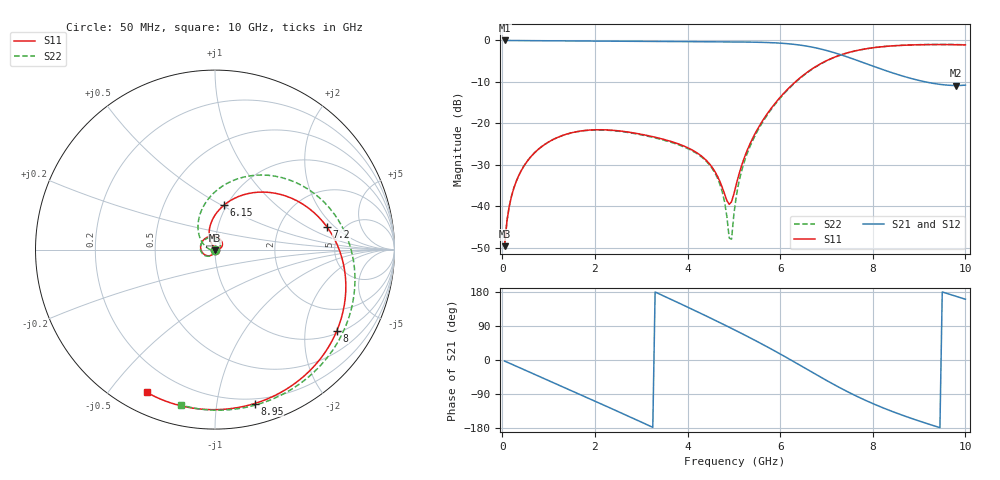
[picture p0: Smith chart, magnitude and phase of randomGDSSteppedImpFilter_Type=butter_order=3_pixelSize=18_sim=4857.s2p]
! freq	dB(S11)	phase(S11)	dB(S12)	phase(S12)
!  dB(S21)	phase(S21)	dB(S22)	phase(S22)
!S-par simulation data
#  GHz  S  DB  R 50
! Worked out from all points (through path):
!   200 points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, 50 MHz to 10 GHz, reference 50 ohm
!   highest |S21| = -0.01 dB at 50 MHz (marker M1); lowest = -10.9 dB at 9.8 GHz (marker M2)
!   group delay of S21, straight-line fit = 163 ps
!   lowest |S11| = -49.6 dB at 50 MHz (marker M3), VSWR 1.01, Z = 50 - j0.33 ohm
!   |S11| at or under -10 dB: start of sweep to 6.328 GHz
!   |S22| runs from -49.6 to -1.0 dB; largest |S21 - S12| = 0
!   S11 on the Smith chart (normalised r, x): 50 MHz: 1.00, -0.01; 6.15 GHz: 0.97, +0.52; 7.2 GHz: 3.78, +1.60; 8 GHz: 1.10, -2.95; 8.95 GHz: 0.16, -1.28; 10 GHz: 0.09, -0.63
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0.05  -49.62 -91.8  -0.01 -2.8  -0.01 -2.8  -49.61 -91.5
0.2  -37.52 -101.5  -0.03 -10.9  -0.03 -10.9  -37.52 -100.6
0.5  -29.74 -118.7  -0.04 -27.2  -0.04 -27.2  -29.74 -116.4
1.15  -23.60 -156.3  -0.09 -62.4  -0.09 -62.4  -23.61 -150.6
1.75  -21.76 168.4  -0.14 -95.0  -0.14 -95.0  -21.79 178.1
2.65  -21.99 114.5  -0.20 -144.3  -0.20 -144.3  -22.09 132.2
3.4  -23.61 69.2  -0.25 173.8  -0.25 173.8  -23.79 93.4
3.9  -25.37 41.0  -0.28 145.4  -0.28 145.4  -25.58 65.6
4.5  -30.13 15.4  -0.32 110.4  -0.32 110.4  -30.39 27.7
4.75  -35.46 20.6  -0.34 95.5  -0.34 95.5  -36.52 5.7
4.9  -39.53 60.6  -0.35 86.5  -0.35 86.5  -47.67 -46.2
4.95  -38.91 82.8  -0.35 83.4  -0.35 83.4  -47.94 -118.1
5.05  -34.82 110.1  -0.36 77.3  -0.36 77.3  -37.75 -166.0
5.4  -23.74 116.6  -0.41 55.5  -0.41 55.5  -24.29 159.3
6.15  -11.90 78.3  -0.78 5.7  -0.78 5.7  -12.06 105.0
6.7  -6.79 43.4  -1.63 -32.9  -1.63 -32.9  -6.87 64.9
7.2  -3.92 11.4  -3.06 -67.3  -3.06 -67.3  -3.96 29.8
8  -1.77 -33.6  -6.18 -115.0  -6.18 -115.0  -1.77 -18.3
8.35  -1.37 -50.2  -7.54 -132.5  -7.54 -132.5  -1.36 -35.9
8.95  -1.06 -75.6  -9.52 -158.9  -9.52 -158.9  -1.03 -62.2
9.8  -1.03 -107.9  -10.87 168.1  -10.87 168.1  -0.99 -94.9
10  -1.10 -115.6  -10.77 160.4  -10.77 160.4  -1.05 -102.5
